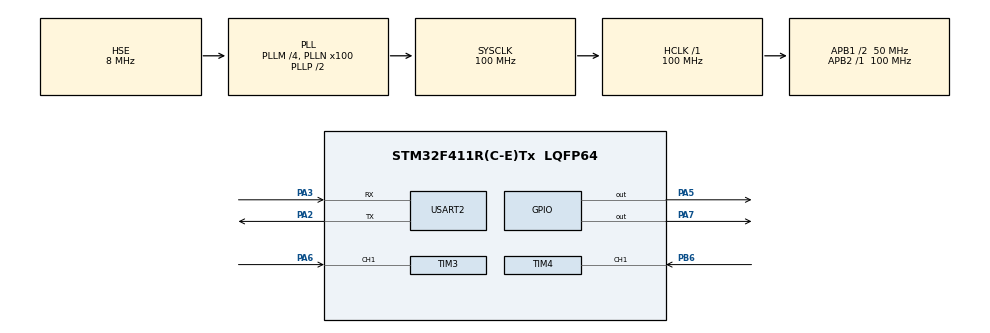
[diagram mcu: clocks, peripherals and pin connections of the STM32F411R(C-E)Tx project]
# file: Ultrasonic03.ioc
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Mcu.Family=STM32F4
Mcu.Name=STM32F411R(C-E)Tx
Mcu.Package=LQFP64
NVIC.PriorityGroup=NVIC_PRIORITYGROUP_4
NVIC.TIM3_IRQn=true\:0\:0\:false\:false\:true\:true\:true\:true
NVIC.TIM4_IRQn=true\:0\:0\:false\:false\:true\:true\:true\:true
NVIC.USART2_IRQn=true\:0\:0\:false\:false\:true\:true\:true\:true
PA13.Mode=Serial_Wire
PA13.Signal=SYS_JTMS-SWDIO
PA14.Mode=Serial_Wire
PA14.Signal=SYS_JTCK-SWCLK
PA2.Mode=Asynchronous
PA2.Signal=USART2_TX
PA3.Mode=Asynchronous
PA3.Signal=USART2_RX
PA5.Signal=GPIO_Output
PA6.Signal=S_TIM3_CH1
PA7.Signal=GPIO_Output
PB6.Signal=S_TIM4_CH1
PH0\ -\ OSC_IN.Mode=HSE-External-Oscillator
PH0\ -\ OSC_IN.Signal=RCC_OSC_IN
PH1\ -\ OSC_OUT.Mode=HSE-External-Oscillator
PH1\ -\ OSC_OUT.Signal=RCC_OSC_OUT
ProjectManager.HeapSize=0x200
ProjectManager.StackSize=0x400
ProjectManager.TargetToolchain=STM32CubeIDE
RCC.48MHZClocksFreq_Value=50000000
RCC.AHBFreq_Value=100000000
RCC.APB1CLKDivider=RCC_HCLK_DIV2
RCC.APB1Freq_Value=50000000
RCC.APB1TimFreq_Value=100000000
RCC.APB2Freq_Value=100000000
RCC.APB2TimFreq_Value=100000000
RCC.CortexFreq_Value=100000000
RCC.HCLKFreq_Value=100000000
RCC.HSE_VALUE=8000000
RCC.HSI_VALUE=16000000
RCC.LSE_VALUE=32768
RCC.PLLM=4
RCC.PLLN=100
RCC.PLLSourceVirtual=RCC_PLLSOURCE_HSE
RCC.SYSCLKFreq_VALUE=100000000
RCC.SYSCLKSource=RCC_SYSCLKSOURCE_PLLCLK
RCC.VCOOutputFreq_Value=200000000
SH.S_TIM3_CH1.0=TIM3_CH1,Input_Capture1_from_TI1
SH.S_TIM4_CH1.0=TIM4_CH1,Input_Capture1_from_TI1
TIM3.Channel-Input_Capture1_from_TI1=TIM_CHANNEL_1
TIM3.Prescaler=100-1
TIM4.Channel-Input_Capture1_from_TI1=TIM_CHANNEL_1
TIM4.Prescaler=100-1
USART2.VirtualMode=VM_ASYNC
VP_TIM3_VS_ClockSourceINT.Mode=Internal
VP_TIM4_VS_ClockSourceINT.Mode=Internal
board=custom

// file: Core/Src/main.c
/* USER CODE BEGIN Header */
/**
  ******************************************************************************
  * @file           : main.c
  * @brief          : Main program body
  ******************************************************************************
  * @attention
  *
  * Copyright (c) 2023 STMicroelectronics.
  * All rights reserved.
  *
  * This software is licensed under terms that can be found in the LICENSE file
  * in the root directory of this software component.
  * If no LICENSE file comes with this software, it is provided AS-IS.
  *
  ******************************************************************************
  */
/* USER CODE END Header */
#include "main.h"
#include "tim.h"
#include "usart.h"
#include "gpio.h"

/* USER CODE BEGIN Includes */
#include "stdio.h"
#include "delay.h"
/* USER CODE END Includes */

/* USER CODE BEGIN PD */
#define TRIG_PORT	GPIOA
#define TRIG_PIN1	GPIO_PIN_5
#define TRIG_PIN2	GPIO_PIN_7
/* USER CODE END PD */

/* USER CODE BEGIN PM */
#ifdef __GNUC__
  /* With GCC, small printf (option LD Linker->Libraries->Small printf
     set to 'Yes') calls __io_putchar() */
#define PUTCHAR_PROTOTYPE int __io_putchar(int ch)
#else
  #define PUTCHAR_PROTOTYPE int fputc(int ch, FILE *f)
#endif /* __GNUC__ */
PUTCHAR_PROTOTYPE
{
  /* Place your implementation of fputc here */
  /* e.g. write a character to the EVAL_COM1 and Loop until the end of transmission */
  HAL_UART_Transmit(&huart2, (uint8_t *)&ch, 1, 0xFFFF);

  return ch;
}
/* USER CODE END PM */

/* USER CODE BEGIN PV */
uint32_t INC_Value1[2] = {0};
uint32_t INC_Value2[2] = {0};
uint32_t echoTime[2] = {0};
uint8_t captureFlag[2] = {0};
uint8_t distance[2] = {0};
uint8_t htimFlag = {0};
/* USER CODE END PV */

void SystemClock_Config(void);
/* USER CODE BEGIN PFP */
void HAL_TIM_IC_CaptureCallback(TIM_HandleTypeDef *htim)
{
  if(htim->Instance == htim3.Instance)
  {
    htimFlag = 0;
  }
  if(htim->Instance == TIM4)
  {
   htimFlag = 1;
  }

  if(htim->Channel == HAL_TIM_ACTIVE_CHANNEL_1)
  {
    if(captureFlag[htimFlag] == 0)		// Not capture INC_Value1
    {
      INC_Value1[htimFlag] = HAL_TIM_ReadCapturedValue(htim, TIM_CHANNEL_1);
      captureFlag[htimFlag] = 1;

      __HAL_TIM_SET_CAPTUREPOLARITY(htim, TIM_CHANNEL_1, TIM_INPUTCHANNELPOLARITY_FALLING);
    }
    else if(captureFlag[htimFlag] == 1)	//INC_Value1 captured
    {
      INC_Value2[htimFlag] = HAL_TIM_ReadCapturedValue(htim, TIM_CHANNEL_1);
      __HAL_TIM_SET_COUNTER(htim, 0);

      if(INC_Value2[htimFlag] >= INC_Value1[htimFlag])
      {
	  echoTime[htimFlag] = INC_Value2[htimFlag] - INC_Value1[htimFlag];
      }
      else if(INC_Value1[htimFlag] >= INC_Value2[htimFlag])
      {
	  echoTime[htimFlag] = (0xffff - INC_Value1[htimFlag]) + INC_Value2[htimFlag];
      }
      //distance = echoTime * .034/2;
      distance[htimFlag] = echoTime[htimFlag] / 58;
      captureFlag[htimFlag] = 0;

      __HAL_TIM_SET_CAPTUREPOLARITY(htim, TIM_CHANNEL_1, TIM_INPUTCHANNELPOLARITY_RISING);
      __HAL_TIM_DISABLE_IT(htim, TIM_IT_CC1);
    }
  }
}

void HCSR04_Read(uint16_t pin, TIM_HandleTypeDef * htim)
{
  HAL_GPIO_WritePin(TRIG_PORT, pin, GPIO_PIN_SET);
  delay_us(10);
  HAL_GPIO_WritePin(TRIG_PORT, pin, GPIO_PIN_RESET);

  __HAL_TIM_ENABLE_IT(htim, TIM_IT_CC1);
}
/* USER CODE END PFP */

int main(void)
{

  /* MCU Configuration--------------------------------------------------------*/

  /* Reset of all peripherals, Initializes the Flash interface and the Systick. */
  HAL_Init();

  /* Configure the system clock */
  SystemClock_Config();

  /* Initialize all configured peripherals */
  MX_GPIO_Init();
  MX_TIM3_Init();
  MX_TIM4_Init();
  MX_USART2_UART_Init();
  /* USER CODE BEGIN 2 */
  HAL_TIM_IC_Start_IT(&htim3, TIM_CHANNEL_1);
  HAL_TIM_IC_Start_IT(&htim4, TIM_CHANNEL_1);
  /* USER CODE END 2 */

  /* Infinite loop */
  while (1)
  {

    /* USER CODE BEGIN 3 */
    HCSR04_Read(TRIG_PIN1, &htim3);
    HCSR04_Read(TRIG_PIN2, &htim4);
    for(int i =0; i<2; i++)
    {
      printf("Ultrasonic %d : %d cm\r\n", i, distance[i]);
    }
    HAL_Delay(300);
  }
  /* USER CODE END 3 */
}

void SystemClock_Config(void)
{
  RCC_OscInitTypeDef RCC_OscInitStruct = {0};
  RCC_ClkInitTypeDef RCC_ClkInitStruct = {0};

  /** Configure the main internal regulator output voltage
  */
  __HAL_RCC_PWR_CLK_ENABLE();
  __HAL_PWR_VOLTAGESCALING_CONFIG(PWR_REGULATOR_VOLTAGE_SCALE1);

  /** Initializes the RCC Oscillators according to the specified parameters
  * in the RCC_OscInitTypeDef structure.
  */
  RCC_OscInitStruct.OscillatorType = RCC_OSCILLATORTYPE_HSE;
  RCC_OscInitStruct.HSEState = RCC_HSE_ON;
  RCC_OscInitStruct.PLL.PLLState = RCC_PLL_ON;
  RCC_OscInitStruct.PLL.PLLSource = RCC_PLLSOURCE_HSE;
  RCC_OscInitStruct.PLL.PLLM = 4;
  RCC_OscInitStruct.PLL.PLLN = 100;
  RCC_OscInitStruct.PLL.PLLP = RCC_PLLP_DIV2;
  RCC_OscInitStruct.PLL.PLLQ = 4;
  if (HAL_RCC_OscConfig(&RCC_OscInitStruct) != HAL_OK)
  {
    Error_Handler();
  }

  /** Initializes the CPU, AHB and APB buses clocks
  */
  RCC_ClkInitStruct.ClockType = RCC_CLOCKTYPE_HCLK|RCC_CLOCKTYPE_SYSCLK
                              |RCC_CLOCKTYPE_PCLK1|RCC_CLOCKTYPE_PCLK2;
  RCC_ClkInitStruct.SYSCLKSource = RCC_SYSCLKSOURCE_PLLCLK;
  RCC_ClkInitStruct.AHBCLKDivider = RCC_SYSCLK_DIV1;
  RCC_ClkInitStruct.APB1CLKDivider = RCC_HCLK_DIV2;
  RCC_ClkInitStruct.APB2CLKDivider = RCC_HCLK_DIV1;

  if (HAL_RCC_ClockConfig(&RCC_ClkInitStruct, FLASH_LATENCY_3) != HAL_OK)
  {
    Error_Handler();
  }
}

void Error_Handler(void)
{
  __disable_irq();
  while (1)
  {
  }
}
